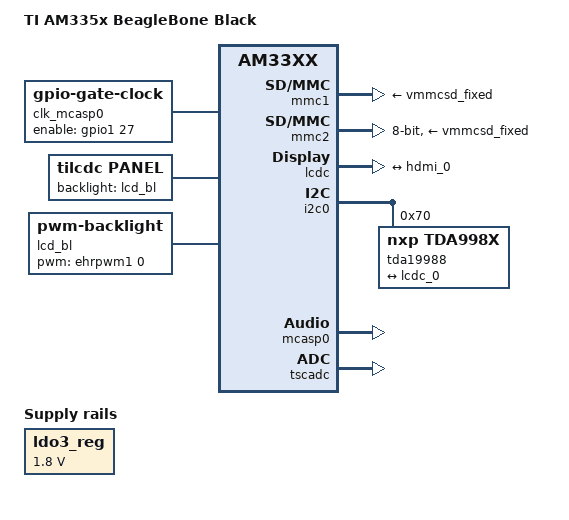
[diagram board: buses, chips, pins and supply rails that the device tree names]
/*
 * Copyright (C) 2012 Texas Instruments Incorporated - http://www.ti.com/
 *
 * This program is free software; you can redistribute it and/or modify
 * it under the terms of the GNU General Public License version 2 as
 * published by the Free Software Foundation.
 */
/dts-v1/;

#include "am33xx.dtsi"
#include "am335x-bone-common.dtsi"
/* #include "am33xx-overlay-edma-fix.dtsi" */
#include <dt-bindings/display/tda998x.h>
/* #include "am335x-bone-jtag.dtsi" */

/* pruss: pick one: */

/*
 * /etc/modprobe.d/pruss-blacklist.conf
 *
 * blacklist uio_pruss
 */

/* #include "am33xx-pruss-rproc.dtsi" */

/*
 * /etc/modprobe.d/pruss-blacklist.conf
 *
 * blacklist pruss
 * blacklist pruss_intc
 * blacklist pru-rproc
 */

/* #include "am33xx-pruss-uio.dtsi" */

/ {
	model = "TI AM335x BeagleBone Black";
	compatible = "ti,am335x-bone-black", "ti,am335x-bone", "ti,am33xx";
};

&ldo3_reg {
	regulator-min-microvolt = <1800000>;
	regulator-max-microvolt = <1800000>;
	regulator-always-on;
};

&mmc1 {
	vmmc-supply = <&vmmcsd_fixed>;
};

&mmc2 {
	vmmc-supply = <&vmmcsd_fixed>;
	pinctrl-names = "default";
	pinctrl-0 = <&emmc_pins>;
	bus-width = <8>;
	status = "okay";
};

&cpu0_opp_table {
	/*
	 * All PG 2.0 silicon may not support 1GHz but some of the early
	 * BeagleBone Blacks have PG 2.0 silicon which is guaranteed
	 * to support 1GHz OPP so enable it for PG 2.0 on this board.
	 */
	oppnitro@1000000000 {
		opp-supported-hw = <0x06 0x0100>;
	};
};

&am33xx_pinmux {
	nxp_hdmi_bonelt_pins: nxp_hdmi_bonelt_pins {
		pinctrl-single,pins = <
			AM33XX_IOPAD(0x9b0, PIN_OUTPUT_PULLDOWN | MUX_MODE3)	/* xdma_event_intr0 */
			AM33XX_IOPAD(0x8a0, PIN_OUTPUT | MUX_MODE0)		/* lcd_data0.lcd_data0 */
			AM33XX_IOPAD(0x8a4, PIN_OUTPUT | MUX_MODE0)		/* lcd_data1.lcd_data1 */
			AM33XX_IOPAD(0x8a8, PIN_OUTPUT | MUX_MODE0)		/* lcd_data2.lcd_data2 */
			AM33XX_IOPAD(0x8ac, PIN_OUTPUT | MUX_MODE0)		/* lcd_data3.lcd_data3 */
			AM33XX_IOPAD(0x8b0, PIN_OUTPUT | MUX_MODE0)		/* lcd_data4.lcd_data4 */
			AM33XX_IOPAD(0x8b4, PIN_OUTPUT | MUX_MODE0)		/* lcd_data5.lcd_data5 */
			AM33XX_IOPAD(0x8b8, PIN_OUTPUT | MUX_MODE0)		/* lcd_data6.lcd_data6 */
			AM33XX_IOPAD(0x8bc, PIN_OUTPUT | MUX_MODE0)		/* lcd_data7.lcd_data7 */
			AM33XX_IOPAD(0x8c0, PIN_OUTPUT | MUX_MODE0)		/* lcd_data8.lcd_data8 */
			AM33XX_IOPAD(0x8c4, PIN_OUTPUT | MUX_MODE0)		/* lcd_data9.lcd_data9 */
			AM33XX_IOPAD(0x8c8, PIN_OUTPUT | MUX_MODE0)		/* lcd_data10.lcd_data10 */
			AM33XX_IOPAD(0x8cc, PIN_OUTPUT | MUX_MODE0)		/* lcd_data11.lcd_data11 */
			AM33XX_IOPAD(0x8d0, PIN_OUTPUT | MUX_MODE0)		/* lcd_data12.lcd_data12 */
			AM33XX_IOPAD(0x8d4, PIN_OUTPUT | MUX_MODE0)		/* lcd_data13.lcd_data13 */
			AM33XX_IOPAD(0x8d8, PIN_OUTPUT | MUX_MODE0)		/* lcd_data14.lcd_data14 */
			AM33XX_IOPAD(0x8dc, PIN_OUTPUT | MUX_MODE0)		/* lcd_data15.lcd_data15 */
			AM33XX_IOPAD(0x8e0, PIN_OUTPUT_PULLDOWN | MUX_MODE0)	/* lcd_vsync.lcd_vsync */
			AM33XX_IOPAD(0x8e4, PIN_OUTPUT_PULLDOWN | MUX_MODE0)	/* lcd_hsync.lcd_hsync */
			AM33XX_IOPAD(0x8e8, PIN_OUTPUT_PULLDOWN | MUX_MODE0)	/* lcd_pclk.lcd_pclk */
			AM33XX_IOPAD(0x8ec, PIN_OUTPUT_PULLDOWN | MUX_MODE0)	/* lcd_ac_bias_en.lcd_ac_bias_en */
		>;
	};
	nxp_hdmi_bonelt_off_pins: nxp_hdmi_bonelt_off_pins {
		pinctrl-single,pins = <
			AM33XX_IOPAD(0x9b0, PIN_OUTPUT_PULLDOWN | MUX_MODE3)	/* xdma_event_intr0 */
		>;
	};

	mcasp0_pins: mcasp0_pins {
		pinctrl-single,pins = <
			AM33XX_IOPAD(0x9ac, PIN_INPUT_PULLUP | MUX_MODE0) /* mcasp0_ahcklx.mcasp0_ahclkx */
			AM33XX_IOPAD(0x99c, PIN_OUTPUT_PULLDOWN | MUX_MODE2) /* mcasp0_ahclkr.mcasp0_axr2*/
			AM33XX_IOPAD(0x994, PIN_OUTPUT_PULLUP | MUX_MODE0) /* mcasp0_fsx.mcasp0_fsx */
			AM33XX_IOPAD(0x990, PIN_OUTPUT_PULLDOWN | MUX_MODE0) /* mcasp0_aclkx.mcasp0_aclkx */
			AM33XX_IOPAD(0x86c, PIN_OUTPUT_PULLDOWN | MUX_MODE7) /* gpmc_a11.GPIO1_27 */
		>;
	};

    /************************/
    /* for lcd  backlight control*/
    /************************/

    pwm_bl_pins: pinmux_pwm_bl_pins {
        pinctrl-single,pins = <
            0x48 0x06       /* gpmc_a2.ehrpwm1a, OMAP_MUX_MODE6 | AM33XX_PIN_OUTPUT */
        >;
    };
};

&lcdc {

	status = "okay";

	/* If you want to get 24 bit RGB and 16 BGR mode instead of
	 * current 16 bit RGB and 24 BGR modes, set the propety
	 * below to "crossed" and uncomment the video-ports -property
	 * in tda19988 node.
	 */
	blue-and-red-wiring = "straight";

	port {
		lcdc_0: endpoint@0 {
			remote-endpoint = <&hdmi_0>;
		};
	};
};

&i2c0 {
	tda19988: tda19988 {
		compatible = "nxp,tda998x";
		reg = <0x70>;

		pinctrl-names = "default", "off";
		//pinctrl-0 = <&nxp_hdmi_bonelt_pins>;
		pinctrl-1 = <&nxp_hdmi_bonelt_off_pins>;

		/* Convert 24bit BGR to RGB, e.g. cross red and blue wiring */
		/* video-ports = <0x234501>; */

		#sound-dai-cells = <0>;
		audio-ports = <	AFMT_I2S	0x03>;

		ports {
			port@0 {
				hdmi_0: endpoint@0 {
					remote-endpoint = <&lcdc_0>;
				};
			};
		};
	};
};

&mcasp0	{
	#sound-dai-cells = <0>;
	pinctrl-names = "default";
	pinctrl-0 = <&mcasp0_pins>;
	status = "okay";
	op-mode = <0>;	/* MCASP_IIS_MODE */
	tdm-slots = <2>;
	serial-dir = <	/* 0: INACTIVE, 1: TX, 2: RX */
			0 0 1 0
		>;
	tx-num-evt = <32>;
	rx-num-evt = <32>;
};

/* Touch Screen */
&tscadc {
        status = "okay";
        tsc {
                ti,wires = <4>;
                ti,x-plate-resistance = <200>;
                ti,coordinate-readouts = <5>;
                ti,wire-config = <0x00 0x11 0x22 0x33>;
        };

        adc {
                ti,adc-channels = <4 5 6 7>;
        };
};



/ {
	clk_mcasp0_fixed: clk_mcasp0_fixed {
		#clock-cells = <0>;
		compatible = "fixed-clock";
		clock-frequency = <24576000>;
	};

	clk_mcasp0: clk_mcasp0 {
		#clock-cells = <0>;
		compatible = "gpio-gate-clock";
		clocks = <&clk_mcasp0_fixed>;
		enable-gpios = <&gpio1 27 0>; /* BeagleBone Black Clk enable on GPIO1_27 */
	};

	sound {
		compatible = "simple-audio-card";
		simple-audio-card,name = "TI BeagleBone Black";
		simple-audio-card,format = "i2s";
		simple-audio-card,bitclock-master = <&dailink0_master>;
		simple-audio-card,frame-master = <&dailink0_master>;

		dailink0_master: simple-audio-card,cpu {
			sound-dai = <&mcasp0>;
			clocks = <&clk_mcasp0>;
		};

		simple-audio-card,codec {
			sound-dai = <&tda19988>;
		};
	};



    /* Embed 7 inch LCD cape: */
    panel {
        compatible = "tilcdc,panel";
        pinctrl-names = "default";

        backlight = <&lcd_bl>;

        status = "okay";
        pinctrl-0 = <&nxp_hdmi_bonelt_pins>;

        panel-info {
            ac-bias           = <255>;
            ac-bias-intrpt    = <0>;
            dma-burst-sz      = <16>;
            bpp               = <32>;
            fdd               = <0x80>;
            tft-alt-mode      = <0>;
            stn-565-mode      = <0>;
            mono-8bit-mode    = <0>;
            sync-edge         = <0>;
            sync-ctrl         = <1>;
            raster-order      = <0>;
            fifo-th           = <0>;
        };
        display-timings {
            native-mode = <&timing0>;
            timing0: 800x480 {
                hactive         = <800>;
                vactive         = <480>;
                hback-porch     = <46>;
                hfront-porch    = <16>;
                hsync-len       = <40>;
                vback-porch     = <23>;
                vfront-porch    = <22>;
                vsync-len       = <20>;
                clock-frequency = <30000000>;
                hsync-active    = <1>;
                vsync-active    = <1>;
            };
        };
    };

    lcd_bl: backlight  {
        compatible      = "pwm-backlight";
        pinctrl-names   = "default";
        pinctrl-0       = <&pwm_bl_pins>;
        pwms = <&ehrpwm1 0 500000 1>;
        pwm-names = "DVK551-LCD7";
        brightness-levels = <0 1 2 3 4 5 6 7 8 9
                            10 11 12 13 14 15 16 17 18 19
                            20 21 22 23 24 25 26 27 28 29
                            30 31 32 33 34 35 36 37 38 39
                            40 41 42 43 44 45 46 47 48 49
                            50 51 52 53 54 55 56 57 58 59
                            60 61 62 63 64 65 66 67 68 69
                            70 71 72 73 74 75 76 77 78 79
                            80 81 82 83 84 85 86 87 88 89
                            90 91 92 93 94 95 96 97 98 99
                            100>;
        default-brightness-level = <100>; /* index to the array above */
        status = "okay";
    };

};
